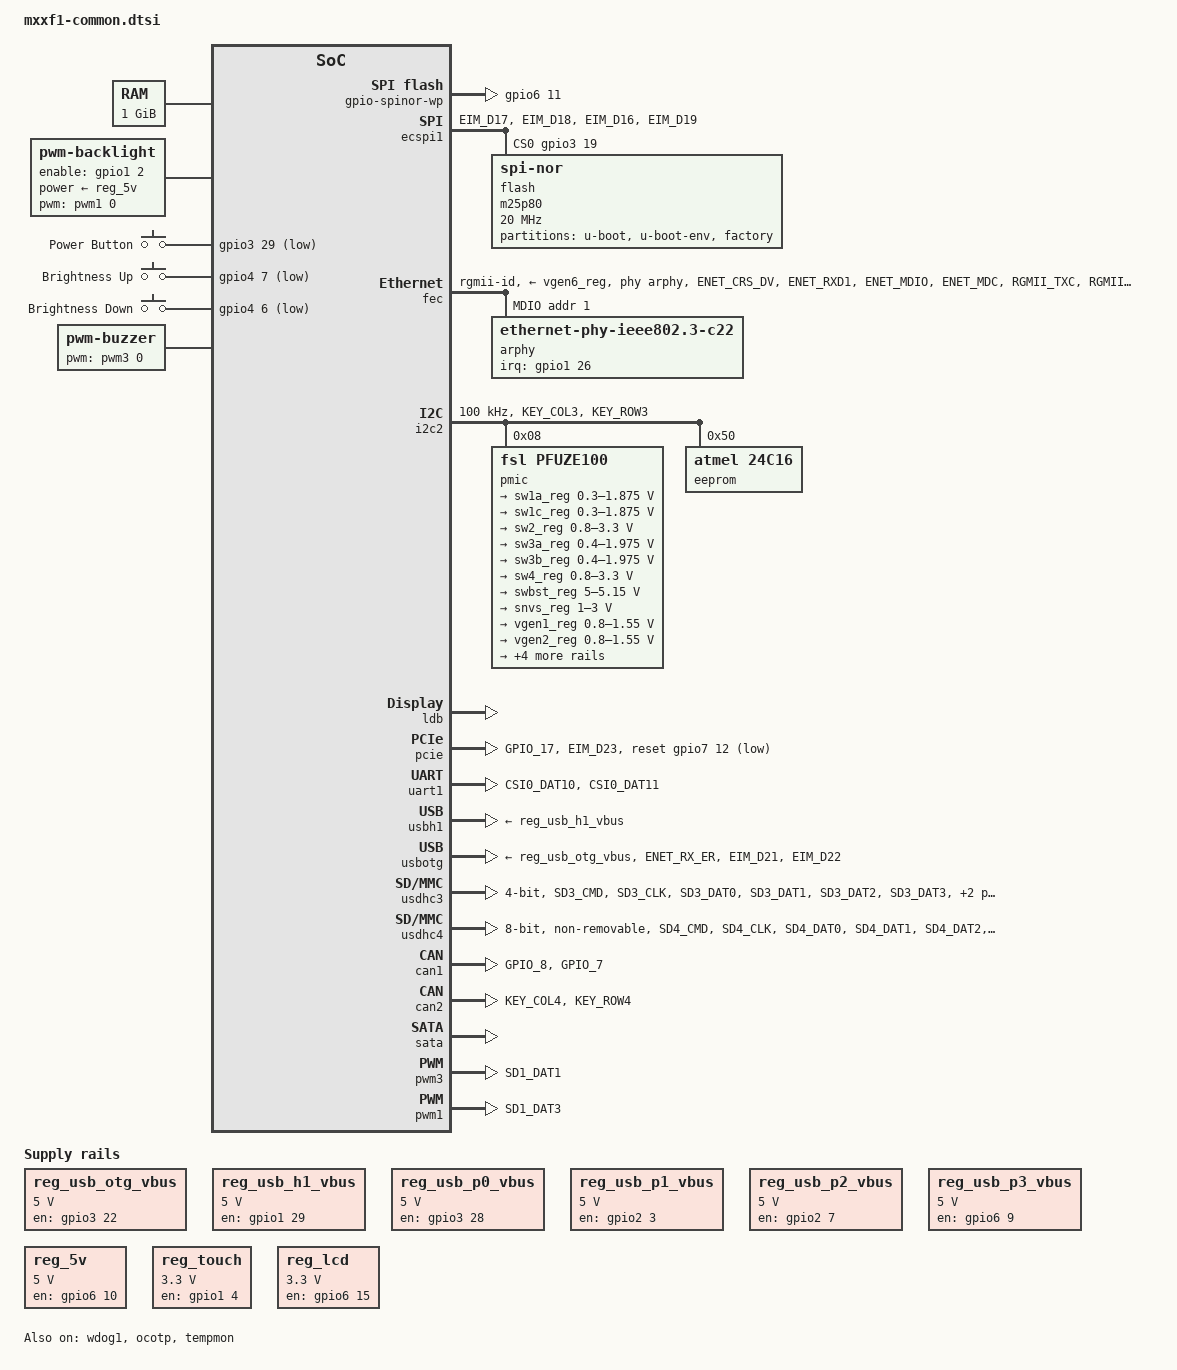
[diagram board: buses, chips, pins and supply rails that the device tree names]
/*
 * Copyright DATA RESPONS AS
 *
 * The code contained herein is licensed under the GNU General Public
 * License. You may obtain a copy of the GNU General Public License
 * Version 2 or later at the following locations:
 *
 * http://www.opensource.org/licenses/gpl-license.html
 * http://www.gnu.org/copyleft/gpl.html
 */
#include <dt-bindings/input/input.h>
#include <dt-bindings/gpio/gpio.h>

/ {
    aliases {
        mxcfb0 = &mxcfb1;
        mxcfb1 = &mxcfb2;
        mmc0 = &usdhc3;
        mmc1 = &usdhc4;
        rtc0 = &main_rtc;
    };

    memory {
        reg = <0x10000000 0x40000000>;
    };

	chosen {
		stdout-path = &uart1;
	};

    backlight  {
        compatible = "pwm-backlight";
        pwms = <&pwm1 0 500000>;
        brightness-levels = < 0 1 2 3 4 5 6 8  11 16  23  32 48
                              64 81 100 121 144 169 196 225
                              256 289 324 361 400 441 484 529
                              576 625 676 729 784 841 900 961
                              1024 1089 1156 1225 1296 1369 1444 1521
                              1600 1681 1764 1849 1936 2025 2116 2209 >;
        default-brightness-level = <32>;
        enable-gpios = <&gpio1 2 GPIO_ACTIVE_HIGH>;
        power-supply = <&reg_5v>;
        status = "okay";
    };

    mxcfb1: fb@0 {
        compatible = "fsl,mxc_sdc_fb";
        disp_dev = "ldb";
        interface_pix_fmt = "RGB24";
        default_bpp = <32>;
        int_clk = <0>;
        late_init = <0>;
        status = "okay";
    };

    mxcfb2: fb@1 {
        compatible = "fsl,mxc_sdc_fb";
        disp_dev = "hdmi";
        interface_pix_fmt = "RGB24";
        mode_str ="1920x1080M@60";
        default_bpp = <24>;
        int_clk = <0>;
        late_init = <0>;
        status = "disabled";
    };

    regulators {
        compatible = "simple-bus";

        reg_usb_otg_vbus: usb_otg_vbus {
            compatible = "regulator-fixed";
            regulator-name = "usb_otg_vbus";
            regulator-min-microvolt = <5000000>;
            regulator-max-microvolt = <5000000>;
            gpio = <&gpio3 22 0>;
            enable-active-high;
        };

        reg_usb_h1_vbus: usb_h1_vbus {
            compatible = "regulator-fixed";
            regulator-name = "usb_h1_vbus";
            regulator-min-microvolt = <5000000>;
            regulator-max-microvolt = <5000000>;
            gpio = <&gpio1 29 0>;
            enable-active-high;
        };
        reg_usb_p0_vbus: usb_p0_vbus {
            compatible = "regulator-fixed";
            regulator-name = "usb_p0_vbus";
            regulator-min-microvolt = <5000000>;
            regulator-max-microvolt = <5000000>;
            gpio = <&gpio3 28 0>;
            enable-active-high;
            regulator-boot-on;
            regulator-always-on;
        };

        reg_usb_p1_vbus: usb_p1_vbus {
            compatible = "regulator-fixed";
            regulator-name = "usb_p1_vbus";
            regulator-min-microvolt = <5000000>;
            regulator-max-microvolt = <5000000>;
            gpio = <&gpio2 3 0>;
            enable-active-high;
            regulator-boot-on;
            regulator-always-on;
        };

        reg_usb_p2_vbus: usb_p2_vbus {
            compatible = "regulator-fixed";
            regulator-name = "usb_p2_vbus";
            regulator-min-microvolt = <5000000>;
            regulator-max-microvolt = <5000000>;
            gpio = <&gpio2 7 0>;
            enable-active-high;
            regulator-boot-on;
            regulator-always-on;
        };

        reg_usb_p3_vbus: usb_p3_vbus {
            compatible = "regulator-fixed";
            regulator-name = "usb_p3_vbus";
            regulator-min-microvolt = <5000000>;
            regulator-max-microvolt = <5000000>;
            gpio = <&gpio6 9 0>;
            enable-active-high;
            regulator-boot-on;
            regulator-always-on;
        };

        reg_5v: ext_5v {
            compatible = "regulator-fixed";
            regulator-name = "5V";
            regulator-min-microvolt = <5000000>;
            regulator-max-microvolt = <5000000>;
            gpio = <&gpio6 10 0>;
            enable-active-high;
            regulator-boot-on;
            regulator-always-on;
        };

        reg_touch: touch_pwr {
            compatible = "regulator-fixed";
            regulator-name = "TOUCH";
            regulator-min-microvolt = <3300000>;
            regulator-max-microvolt = <3300000>;
            gpio = <&gpio1 4 0>;
            enable-active-high;
            regulator-always-on;
        };


        reg_lcd: lcd_pwr {
            compatible = "regulator-fixed";
            regulator-name = "LCD";
            regulator-min-microvolt = <3300000>;
            regulator-max-microvolt = <3300000>;
            gpio = <&gpio6 15 0>;
            enable-active-high;
            regulator-boot-on;
            regulator-always-on;
        };

    };

    gpio-keys {
        compatible = "gpio-keys";
        power {
            label = "Power Button";
            gpios = <&gpio3 29 1>;
            linux,code = <KEY_POWER>; /* KEY_POWER */
            gpio-key,wakeup;
        };

        dimm-up {
            label = "Brightness Up";
            gpios = <&gpio4 7 1>;
            linux,code = <KEY_BRIGHTNESSUP>; /* KEY_BRIGHTNESSUP */
        };

        dimm-down {
            label = "Brightness Down";
            gpios = <&gpio4 6 1>;
            linux,code = <KEY_BRIGHTNESSDOWN>; /* KEY_BRIGHTNESSDOWN */
        };
    };

	user-gpios {

		gpio-lan2-eewp {
			gpios = <&gpio6 14 GPIO_ACTIVE_LOW>;
			status = "okay";
			value = <0>;
		};

		gpio-eeprom-wp {
			gpios = <&gpio1 5 GPIO_ACTIVE_LOW>;
			status = "okay";
			value = <0>;
		};

		gpio-spinor-wp {
			gpios = <&gpio6 11 GPIO_ACTIVE_LOW>;
			status = "okay";
			value = <1>;
		};
		gpio-fan {
			gpios = <&gpio1 18 GPIO_ACTIVE_HIGH>;
			status = "okay";
			value = <0>;
		};

		gpio-ext-buzz {
			gpios = <&gpio1 19 GPIO_ACTIVE_HIGH>;
			status = "okay";
			value = <0>;
		};

/*
        gpio-phy-rst {
            gpios = <&gpio1 25 GPIO_ACTIVE_LOW>;
            status = "okay";
            value = <1>;
        };
*/
        gpio-hw0 {
            gpios = <&gpio1 15 GPIO_ACTIVE_HIGH>;
            status = "okay";
        };

        gpio-hw1 {
            gpios = <&gpio1 14 GPIO_ACTIVE_HIGH>;
            status = "okay";
        };

        gpio-hw2 {
            gpios = <&gpio1 13 GPIO_ACTIVE_HIGH>;
            status = "okay";
        };

        gpio-hw3 {
            gpios = <&gpio1 12 GPIO_ACTIVE_HIGH>;
            status = "okay";
        };

        gpio-lan2-off {
		gpios = <&gpio3 23 GPIO_ACTIVE_LOW>;
		value = <1>;
		status = "okay";
        };

	};

	pwm-buzzer {
        compatible = "pwm-buzzer";
        pwms = <&pwm3 0 434782>;
        status = "okay";
    };

};

&ecspi1 {
	fsl,spi-num-chipselects = <1>;
	cs-gpios = <&gpio3 19 0>;
	pinctrl-names = "default";
	pinctrl-0 = <&pinctrl_ecspi1>;
	status = "okay";
	nodma;

flash: m25p80@0 {
        #address-cells = <1>;
        #size-cells = <1>;
        compatible = "jedec,spi-nor";
        spi-max-frequency = <20000000>;
        reg = <0>;
        partition@0 {
            label = "u-boot";
            reg = <0 0x000C0000>;
        };
        partition@0x000C0000 {
            label = "u-boot-env";
            reg = <0x000C0000 0x00040000>;
        };
        partition@0x00100000 {
            label = "factory";
            reg = <0x00100000 0x00300000>;
        };
    };
};

&fec {
	pinctrl-names = "default";
	pinctrl-0 = <&pinctrl_enet_lm>;
	phy-mode = "rgmii-id";
	status = "okay";
	phy-reset-duration = <10>;
	phy-reset-gpios = <&gpio1 25 GPIO_ACTIVE_LOW>;
	phy-handle = <&arphy>;
	phy-supply = <&vgen6_reg>;
	mdio {
	   #address-cells = <1>;
       #size-cells = <0>;
	   arphy: ethernet-phy@1 {
	       compatible = "ethernet-phy-ieee802.3-c22";
	       reg = <0x1>;
	       interrupt-parent = <&gpio1>;
	       interrupts = <26 IRQ_TYPE_EDGE_FALLING>;
	   };
	};
};


&gpc {
	fsl,ldo-bypass = <0>; /* use ldo-bypass, u-boot will check it and configure */
	fsl,wdog-reset = <2>; /* watchdog select of reset source */
};

&wdog1 {
	status = "okay";
};

&wdog2 {
	status = "disabled";
};

&i2c2 {
	clock-frequency = <100000>;
	pinctrl-names = "default";
	pinctrl-0 = <&pinctrl_i2c2>;
	status = "okay";

		pmic: pfuze100@8 {
		compatible = "fsl,pfuze100";
		reg = <0x08>;

		regulators {
			sw1a_reg: sw1ab {
				regulator-min-microvolt = <300000>;
				regulator-max-microvolt = <1875000>;
				regulator-boot-on;
				regulator-always-on;
				regulator-ramp-delay = <6250>;
			};

			sw1c_reg: sw1c {
				regulator-min-microvolt = <300000>;
				regulator-max-microvolt = <1875000>;
				regulator-boot-on;
				regulator-always-on;
				regulator-ramp-delay = <6250>;
			};

			sw2_reg: sw2 {
				regulator-min-microvolt = <800000>;
				regulator-max-microvolt = <3300000>;
				regulator-boot-on;
				regulator-always-on;
			};

			sw3a_reg: sw3a {
				regulator-min-microvolt = <400000>;
				regulator-max-microvolt = <1975000>;
				regulator-boot-on;
				regulator-always-on;
			};

			sw3b_reg: sw3b {
				regulator-min-microvolt = <400000>;
				regulator-max-microvolt = <1975000>;
				regulator-boot-on;
				regulator-always-on;
			};

			sw4_reg: sw4 {
				regulator-min-microvolt = <800000>;
				regulator-max-microvolt = <3300000>;
				regulator-boot-on;
				regulator-always-on;
			};

			swbst_reg: swbst {
				regulator-min-microvolt = <5000000>;
				regulator-max-microvolt = <5150000>;
				regulator-boot-on;
				regulator-always-on;
			};

			snvs_reg: vsnvs {
				regulator-min-microvolt = <1000000>;
				regulator-max-microvolt = <3000000>;
				regulator-boot-on;
				regulator-always-on;
			};

			vref_reg: vrefddr {
				regulator-boot-on;
				regulator-always-on;
			};

			vgen1_reg: vgen1 {
				regulator-min-microvolt = <800000>;
				regulator-max-microvolt = <1550000>;
			};

			vgen2_reg: vgen2 {
				regulator-min-microvolt = <800000>;
				regulator-max-microvolt = <1550000>;
			};

			vgen3_reg: vgen3 {
				regulator-min-microvolt = <1800000>;
				regulator-max-microvolt = <3300000>;
			};

			vgen4_reg: vgen4 {
				regulator-min-microvolt = <1800000>;
				regulator-max-microvolt = <3300000>;
				regulator-always-on;
			};

			vgen5_reg: vgen5 {
				regulator-min-microvolt = <1800000>;
				regulator-max-microvolt = <3300000>;
				regulator-always-on;
			};

			vgen6_reg: vgen6 {
				regulator-min-microvolt = <1800000>;
				regulator-max-microvolt = <3300000>;
				regulator-always-on;
			};
		};
	};

	eeprom@50 {
        compatible = "atmel,24c16";
        reg = <0x50>;
        pagesize = <16>;
    };

};

&i2c1 {
    status = "disabled";
};

&iomuxc {
	pinctrl-names = "default";
	pinctrl-0 = <&pinctrl_hog_1>;

	hog {
        pinctrl_hog_1: hoggrp-1 {
            fsl,pins = <
                MX6QDL_PAD_GPIO_4__GPIO1_IO04   0x80000000
                MX6QDL_PAD_GPIO_5__GPIO1_IO05   0x80000000
                MX6QDL_PAD_SD1_CMD__GPIO1_IO18  0x80000000
                MX6QDL_PAD_SD1_DAT2__GPIO1_IO19 0x80000000
                MX6QDL_PAD_NANDF_D0__GPIO2_IO00 0x80000000
                MX6QDL_PAD_NANDF_D1__GPIO2_IO01 0x80000000
                MX6QDL_PAD_NANDF_D2__GPIO2_IO02 0x80000000
                MX6QDL_PAD_NANDF_D3__GPIO2_IO03 0x80000000
                MX6QDL_PAD_NANDF_D7__GPIO2_IO07 0x80000000
                MX6QDL_PAD_NANDF_ALE__GPIO6_IO08 0x80000000
                MX6QDL_PAD_NANDF_CLE__GPIO6_IO07 0x80000000
                MX6QDL_PAD_GPIO_0__CCM_CLKO1    0x130b0
                MX6QDL_PAD_NANDF_CS2__GPIO6_IO15 0x80000000
                MX6QDL_PAD_NANDF_CS3__GPIO6_IO16 0x80000000
                MX6QDL_PAD_EIM_D26__GPIO3_IO26  0x80000000
                MX6QDL_PAD_EIM_CS1__GPIO2_IO24  0x80000000
                MX6QDL_PAD_ENET_RXD0__GPIO1_IO27 0x80000000
                MX6QDL_PAD_EIM_A25__GPIO5_IO02  0x80000000
                MX6QDL_PAD_ENET_TXD1__GPIO1_IO29 0x80000000
                MX6QDL_PAD_EIM_D28__GPIO3_IO28  0x80000000
                MX6QDL_PAD_NANDF_CS0__GPIO6_IO11 0x80000000
                MX6QDL_PAD_NANDF_CS1__GPIO6_IO14 0x80000000
                MX6QDL_PAD_EIM_EB3__GPIO2_IO31  0x80000000
                MX6QDL_PAD_EIM_DA9__GPIO3_IO09  0x80000000
                MX6QDL_PAD_GPIO_2__GPIO1_IO02   0x80000000
                MX6QDL_PAD_EIM_D29__GPIO3_IO29  0x80000000
                MX6QDL_PAD_SD3_RST__GPIO7_IO08  0x80000000
                MX6QDL_PAD_GPIO_1__WDOG2_B      0x80000000
                MX6QDL_PAD_GPIO_2__GPIO1_IO02   0x80000000
                MX6QDL_PAD_NANDF_RB0__GPIO6_IO10 0x80000000
                MX6QDL_PAD_NANDF_WP_B__GPIO6_IO09 0x80000000
                MX6QDL_PAD_CSI0_DATA_EN__GPIO5_IO20 0x80000000

                MX6QDL_PAD_SD2_DAT0__GPIO1_IO15 0x00012000
                MX6QDL_PAD_SD2_DAT1__GPIO1_IO14 0x00012000
                MX6QDL_PAD_SD2_DAT2__GPIO1_IO13 0x00012000
                MX6QDL_PAD_SD2_DAT3__GPIO1_IO12 0x00012000

                MX6QDL_PAD_EIM_D30__USB_H1_OC 0x1b0b1
            >;
        };
    };

	pcie {
		pinctrl_pcie: pciegrp {
			fsl,pins = <
				MX6QDL_PAD_GPIO_17__GPIO7_IO12	0x1b0b0
				MX6QDL_PAD_EIM_D23__GPIO3_IO23  0x1b0b0
			>;
		};
	};

	ecspi1 {
		pinctrl_ecspi1: ecspi1grp {
			fsl,pins = <
				MX6QDL_PAD_EIM_D17__ECSPI1_MISO	0x100b1
				MX6QDL_PAD_EIM_D18__ECSPI1_MOSI	0x100b1
				MX6QDL_PAD_EIM_D16__ECSPI1_SCLK	0x100b1
				MX6QDL_PAD_EIM_D19__GPIO3_IO19	0x100b1
			>;
		};
	};

	ecspi2 {
		pinctrl_ecspi2: ecspi2grp {
			fsl,pins = <
				MX6QDL_PAD_EIM_OE__ECSPI2_MISO	0x100b1
				MX6QDL_PAD_EIM_CS1__ECSPI2_MOSI	0x100b1
				MX6QDL_PAD_EIM_CS0__ECSPI2_SCLK	0x100b1
				MX6QDL_PAD_DISP0_DAT18__GPIO5_IO12	0x100b1
			>;
		};
	};

	uart1 {
		pinctrl_uart1: uart1grp {
			fsl,pins = <
				MX6QDL_PAD_CSI0_DAT10__UART1_TX_DATA	0x1b0b1
				MX6QDL_PAD_CSI0_DAT11__UART1_RX_DATA	0x1b0b1
			>;
		};
	};

	uart2 {
		pinctrl_uart2: uart2grp {
			fsl,pins = <
				MX6QDL_PAD_GPIO_7__UART2_TX_DATA	0x1b0b1
				MX6QDL_PAD_GPIO_8__UART2_RX_DATA	0x1b0b1
			>;
		};
	};

	uart3 {
		pinctrl_uart3: uart3grp {
			fsl,pins = <
				MX6QDL_PAD_EIM_D24__UART3_TX_DATA	0x1b0b1
				MX6QDL_PAD_EIM_D25__UART3_RX_DATA	0x1b0b1
			>;
		};
	};

	uart4 {
		pinctrl_uart4: uart4grp {
			fsl,pins = <
				MX6QDL_PAD_KEY_COL0__UART4_TX_DATA	0x1b0b1
				MX6QDL_PAD_KEY_ROW0__UART4_RX_DATA	0x1b0b1
			>;
		};
	};

	pwm1 {
		pinctrl_pwm1: pwm1grp {
			fsl,pins = <
				MX6QDL_PAD_SD1_DAT3__PWM1_OUT		0x1b0b1
			>;
		};
	};

	pwm3 {
		pinctrl_pwm3: pwm3grp {
			fsl,pins = <
				MX6QDL_PAD_SD1_DAT1__PWM3_OUT 0x1b0b1
			>;
		};
	};

    i2c2 {
        pinctrl_i2c2: i2c2grp {
            fsl,pins = <
                MX6QDL_PAD_KEY_COL3__I2C2_SCL       0x4001b8b1
                MX6QDL_PAD_KEY_ROW3__I2C2_SDA       0x4001b8b1
             >;
        };
    };

	i2c3 {
		pinctrl_i2c3: i2c3grp {
			fsl,pins = <
				MX6QDL_PAD_GPIO_3__I2C3_SCL 0x4001b8b1
				MX6QDL_PAD_GPIO_6__I2C3_SDA 0x4001b8b1
			>;
		};
	};

	usbotg {
		pinctrl_usbotg_lm: usbotggrp-lm {
			fsl,pins = <
				MX6QDL_PAD_ENET_RX_ER__USB_OTG_ID 	0x17059
				MX6QDL_PAD_EIM_D21__USB_OTG_OC		0x17059
				MX6QDL_PAD_EIM_D22__GPIO3_IO22		0x80000000

			>;
		};
	};

	usdhc3 {
		pinctrl_usdhc3: usdhc3grp {
			fsl,pins = <
				MX6QDL_PAD_SD3_CMD__SD3_CMD		0x17059
				MX6QDL_PAD_SD3_CLK__SD3_CLK		0x10059
				MX6QDL_PAD_SD3_DAT0__SD3_DATA0		0x17059
				MX6QDL_PAD_SD3_DAT1__SD3_DATA1		0x17059
				MX6QDL_PAD_SD3_DAT2__SD3_DATA2		0x17059
				MX6QDL_PAD_SD3_DAT3__SD3_DATA3		0x17059

			>;
		};
	};

	usdhc4 {
		pinctrl_usdhc4: usdhc4grp {
			fsl,pins = <
				MX6QDL_PAD_SD4_CMD__SD4_CMD		0x17059
				MX6QDL_PAD_SD4_CLK__SD4_CLK		0x10059
				MX6QDL_PAD_SD4_DAT0__SD4_DATA0		0x17059
				MX6QDL_PAD_SD4_DAT1__SD4_DATA1		0x17059
				MX6QDL_PAD_SD4_DAT2__SD4_DATA2		0x17059
				MX6QDL_PAD_SD4_DAT3__SD4_DATA3		0x17059
				MX6QDL_PAD_SD4_DAT4__SD4_DATA4      0x17059
                MX6QDL_PAD_SD4_DAT5__SD4_DATA5      0x17059
                MX6QDL_PAD_SD4_DAT6__SD4_DATA6      0x17059
                MX6QDL_PAD_SD4_DAT7__SD4_DATA7      0x17059
			>;
		};
	};

	enet {
		pinctrl_enet_lm: enetgrp-lm2 {
			fsl,pins = <
                MX6QDL_PAD_ENET_CRS_DV__GPIO1_IO25  	0x80000000	/* Phy reset (low) */
                MX6QDL_PAD_ENET_RXD1__GPIO1_IO26 		0x1b0b0     	/* Phy IRQ (low) */
				MX6QDL_PAD_ENET_MDIO__ENET_MDIO       0x1b0b0
				MX6QDL_PAD_ENET_MDC__ENET_MDC         0x1b0b0
				MX6QDL_PAD_RGMII_TXC__RGMII_TXC       0x1b0b0
				MX6QDL_PAD_RGMII_TD0__RGMII_TD0       0x1b0b0
				MX6QDL_PAD_RGMII_TD1__RGMII_TD1       0x1b0b0
				MX6QDL_PAD_RGMII_TD2__RGMII_TD2       0x1b0b0
				MX6QDL_PAD_RGMII_TD3__RGMII_TD3       0x1b0b0
				MX6QDL_PAD_RGMII_TX_CTL__RGMII_TX_CTL 0x1b0b0
				MX6QDL_PAD_ENET_REF_CLK__ENET_TX_CLK  0x4001b0a8
				MX6QDL_PAD_RGMII_RXC__RGMII_RXC       0x1b0b0
				MX6QDL_PAD_RGMII_RD0__RGMII_RD0       0x1b0b0
				MX6QDL_PAD_RGMII_RD1__RGMII_RD1       0x1b0b0
				MX6QDL_PAD_RGMII_RD2__RGMII_RD2       0x1b0b0
				MX6QDL_PAD_RGMII_RD3__RGMII_RD3       0x1b0b0
				MX6QDL_PAD_RGMII_RX_CTL__RGMII_RX_CTL 0x1b0b0

			>;
		};
	};

	can1 {
        pinctrl_flexcan1: flexcan1grp {
            fsl,pins = <
                MX6QDL_PAD_GPIO_8__FLEXCAN1_RX    0x80000000
                MX6QDL_PAD_GPIO_7__FLEXCAN1_TX    0x80000000
            >;
        };
    };

    can2 {
        pinctrl_flexcan2: flexcan2grp {
            fsl,pins = <
                MX6QDL_PAD_KEY_COL4__FLEXCAN2_TX    0x80000000
                MX6QDL_PAD_KEY_ROW4__FLEXCAN2_RX    0x80000000
            >;
        };
    };
};

&ldb {
    status = "okay";

    lvds-channel@0 {
        fsl,data-mapping = "spwg";
        fsl,data-width = <24>;
        status = "okay";
        primary;
        crtc = "ipu1-di0";

        display-timings {
            native-mode = <&timing0>;
            timing0: hsd100pxn1 {
                clock-frequency = <65000000>;
                hactive = <1024>;
                vactive = <768>;
                hback-porch = <220>;
                hfront-porch = <40>;
                vback-porch = <21>;
                vfront-porch = <7>;
                hsync-len = <60>;
                vsync-len = <10>;
            };
        };
    };

    lvds-channel@1 {
        fsl,data-mapping = "spwg";
        fsl,data-width = <24>;
        status = "disabled";
        crtc = "ipu2-di1";
        display-timings {
            native-mode = <&timing1>;
            timing1: hsd100pxn1 {
                clock-frequency = <65000000>;
                hactive = <1024>;
                vactive = <768>;
                hback-porch = <220>;
                hfront-porch = <40>;
                vback-porch = <21>;
                vfront-porch = <7>;
                hsync-len = <60>;
                vsync-len = <10>;
            };
        };
    };
};



&pcie {
	pinctrl-names = "default";
	pinctrl-0 = <&pinctrl_pcie>;
    reset-gpio = <&gpio7 12 GPIO_ACTIVE_LOW>;
    status = "okay";
    vph-supply = <&vgen3_reg>;
};

&uart1 {
	pinctrl-names = "default";
	pinctrl-0 = <&pinctrl_uart1>;
	status = "okay";
};

&usbh1 {
    vbus-supply = <&reg_usb_h1_vbus>;
    status = "okay";
    over-current-active-low;
};

&usbotg {
    vbus-supply = <&reg_usb_otg_vbus>;
    pinctrl-names = "default";
    pinctrl-0 = <&pinctrl_usbotg_lm>;
    over-current-active-low;
    status = "okay";
};

&usdhc2 {
    status = "disabled";
};

&usdhc3 {
    pinctrl-names = "default";
    pinctrl-0 = <&pinctrl_usdhc3>;
    cd-gpios = <&gpio2 0 GPIO_ACTIVE_LOW>;
    wp-gpios = <&gpio2 1 GPIO_ACTIVE_HIGH>;
    bus-width = <4>;
    no-1-8-v;
    keep-power-in-suspend;
    enable-sdio-wakeup;
    status = "okay";
};

&usdhc4 {
    pinctrl-names = "default";
    pinctrl-0 = <&pinctrl_usdhc4>;
    bus-width = <8>;
    non-removable;
    no-1-8-v;
    keep-power-in-suspend;
    status = "okay";
};

&can1 {
    pinctrl-names = "default";
    pinctrl-0 = <&pinctrl_flexcan1>;
    status = "okay";
};

&can2 {
    pinctrl-names = "default";
    pinctrl-0 = <&pinctrl_flexcan2>;
    status = "okay";
};

&sata {
    status = "okay";
};

&pwm3 {
	#pwm-cells = <2>;
	pinctrl-names = "default";
	pinctrl-0 = <&pinctrl_pwm3>;
	status = "okay";
};

&clks {
	fsl,ldb-di0-parent = <&clks IMX6QDL_CLK_PLL2_PFD0_352M>;
	fsl,ldb-di1-parent = <&clks IMX6QDL_CLK_PLL2_PFD0_352M>;
};

&snvs_poweroff {
	status = "okay";
};

&usbphy1 {
	tx-d-cal = <0x5>;
};

&usbphy2 {
	tx-d-cal = <0x5>;
};

&pwm1 {
	#pwm-cells = <2>;
	pinctrl-names = "default";
	pinctrl-0 = <&pinctrl_pwm1>;
	status = "okay";
};

&ocotp {
    status = "okay";
};

&tempmon {
    status = "okay";
};
